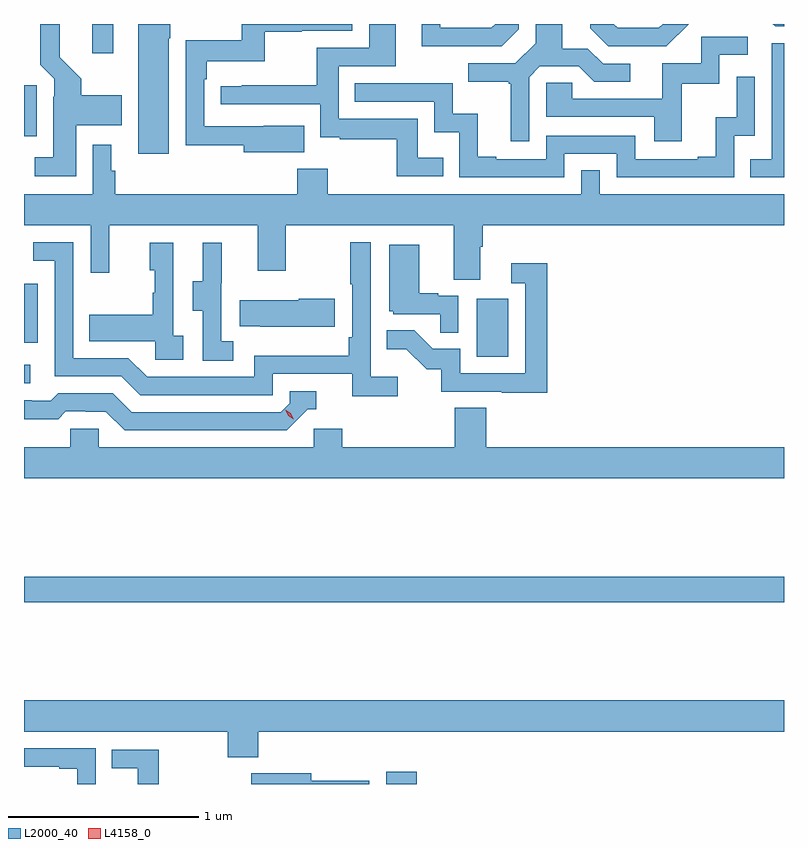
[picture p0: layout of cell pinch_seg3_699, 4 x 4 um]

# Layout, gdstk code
import gdstk
lib = gdstk.Library(unit=1e-6, precision=1e-09)
def R(c, l, rs):  # rectangles x0, y0, x1, y1
    for r in rs: c.add(gdstk.rectangle(r[:2], r[2:], *l))
def P(c, l, *ps):  # polygons
    for p in ps: c.add(gdstk.Polygon(p, *l))
L2000_40 = (2000, 40)
L4158_0 = (4158, 0)

pinch_seg3_699 = lib.new_cell('pinch_seg3_699')
R(pinch_seg3_699, L2000_40, [(1091.513,675.332,1091.674,675.397), (1089.606,676.288,1093.606,676.424), (1089.606,677.442,1089.64,677.538), (1091.99,677.58,1092.154,677.887), (1089.606,677.655,1089.678,677.964), (1089.606,678.741,1089.673,679.009), (1089.965,679.179,1090.075,679.332)])
P(pinch_seg3_699, L2000_40, [(1091.904,679.215),(1092.12,679.215),(1092.21,679.305),(1092.21,679.332),(1092.087,679.332),(1092.066,679.311),(1091.796,679.311),(1091.796,679.332),(1091.699,679.332),(1091.699,679.214),(1091.904,679.214)],
  [(1091.081,678.796),(1090.867,678.796),(1090.867,678.795),(1090.554,678.795),(1090.554,679.04),(1090.568,679.04),(1090.568,679.136),(1090.873,679.136),(1090.873,679.291),(1091.069,679.291),(1091.069,679.296),(1091.334,679.296),(1091.334,679.332),(1090.752,679.332),(1090.752,679.246),(1090.458,679.246),(1090.458,678.694),(1090.763,678.694),(1090.763,678.656),(1091.081,678.656)],
  [(1093.104,679.332),(1092.969,679.332),(1092.948,679.311),(1092.732,679.311),(1092.711,679.332),(1092.587,679.332),(1092.587,679.309),(1092.681,679.215),(1092.987,679.215)],
  [(1092.264,679.053),(1092.321,679.11),(1092.527,679.11),(1092.608,679.029),(1092.796,679.029),(1092.796,679.122),(1092.654,679.122),(1092.574,679.202),(1092.439,679.202),(1092.439,679.332),(1092.299,679.332),(1092.299,679.232),(1092.192,679.125),(1091.943,679.125),(1091.943,679.028),(1092.156,679.028),(1092.156,679.017),(1092.167,679.017),(1092.167,678.714),(1092.264,678.714)],
  [(1089.88,678.8),(1090.12,678.8),(1090.12,678.958),(1089.906,678.958),(1089.906,679.043),(1089.793,679.156),(1089.793,679.332),(1089.691,679.332),(1089.691,679.118),(1089.765,679.044),(1089.765,678.95),(1089.761,678.95),(1089.761,678.631),(1089.663,678.631),(1089.663,678.53),(1089.88,678.53)],
  [(1093.606,679.332),(1093.547,679.332),(1093.559,679.32),(1093.606,679.32)],
  [(1091.813,678.628),(1091.679,678.628),(1091.679,678.834),(1091.262,678.834),(1091.262,679.11),(1091.563,679.11),(1091.563,679.332),(1091.423,679.332),(1091.423,679.206),(1091.146,679.206),(1091.146,679.01),(1090.753,679.01),(1090.753,679.005),(1090.641,679.005),(1090.641,678.909),(1091.166,678.909),(1091.166,678.737),(1091.269,678.737),(1091.269,678.726),(1091.568,678.726),(1091.568,678.531),(1091.813,678.531)],
  [(1090.369,679.256),(1090.377,679.256),(1090.377,679.332),(1090.208,679.332),(1090.208,678.648),(1090.369,678.648)],
  [(1093.067,679.017),(1093.266,679.017),(1093.266,679.17),(1093.414,679.17),(1093.414,679.266),(1093.17,679.266),(1093.17,679.125),(1092.965,679.125),(1092.965,678.939),(1092.491,678.939),(1092.491,679.023),(1092.354,679.023),(1092.354,678.843),(1092.923,678.843),(1092.923,678.714),(1093.067,678.714)],
  [(1093.606,679.23),(1093.542,679.23),(1093.542,678.621),(1093.429,678.621),(1093.429,678.525),(1093.606,678.525)],
  [(1092.45,678.648),(1092.726,678.648),(1092.726,678.525),(1093.344,678.525),(1093.344,678.744),(1093.452,678.744),(1093.452,679.054),(1093.356,679.054),(1093.356,678.842),(1093.247,678.842),(1093.247,678.634),(1093.151,678.634),(1093.151,678.621),(1092.822,678.621),(1092.822,678.744),(1092.354,678.744),(1092.354,678.621),(1092.091,678.621),(1092.091,678.634),(1091.995,678.634),(1091.995,678.859),(1091.862,678.859),(1091.862,679.02),(1091.347,679.02),(1091.347,678.924),(1091.766,678.924),(1091.766,678.761),(1091.898,678.761),(1091.898,678.525),(1092.45,678.525)],
  [(1092.007,678.16),(1092.02,678.16),(1092.02,678.272),(1093.606,678.272),(1093.606,678.436),(1092.636,678.436),(1092.636,678.563),(1092.54,678.563),(1092.54,678.436),(1091.205,678.436),(1091.205,678.571),(1091.045,678.571),(1091.045,678.436),(1090.085,678.436),(1090.085,678.56),(1090.066,678.56),(1090.066,678.697),(1089.969,678.697),(1089.969,678.436),(1089.606,678.436),(1089.606,678.272),(1089.957,678.272),(1089.957,678.024),(1090.055,678.024),(1090.055,678.272),(1090.835,678.272),(1090.835,678.033),(1090.983,678.033),(1090.983,678.272),(1091.867,678.272),(1091.867,677.986),(1092.007,677.986)],
  [(1091.572,677.476),(1091.43,677.476),(1091.43,678.184),(1091.322,678.184),(1091.322,677.962),(1091.334,677.962),(1091.334,677.683),(1091.314,677.683),(1091.314,677.587),(1090.818,677.587),(1090.818,677.475),(1090.254,677.475),(1090.155,677.574),(1089.864,677.574),(1089.864,678.183),(1089.655,678.183),(1089.655,678.087),(1089.768,678.087),(1089.768,677.478),(1090.118,677.478),(1090.217,677.379),(1090.914,677.379),(1090.914,677.49),(1091.333,677.49),(1091.333,677.374),(1091.572,677.374)],
  [(1090.708,677.663),(1090.644,677.663),(1090.644,677.967),(1090.646,677.967),(1090.646,678.181),(1090.547,678.181),(1090.547,677.979),(1090.493,677.979),(1090.493,677.824),(1090.548,677.824),(1090.548,677.56),(1090.708,677.56)],
  [(1090.444,677.69),(1090.392,677.69),(1090.392,678.181),(1090.268,678.181),(1090.268,678.036),(1090.294,678.036),(1090.294,677.918),(1090.284,677.918),(1090.284,677.803),(1089.949,677.803),(1089.949,677.663),(1090.296,677.663),(1090.296,677.565),(1090.444,677.565)],
  [(1091.892,677.901),(1091.786,677.901),(1091.786,677.914),(1091.686,677.914),(1091.686,678.169),(1091.528,678.169),(1091.528,677.82),(1091.55,677.82),(1091.55,677.805),(1091.797,677.805),(1091.797,677.707),(1091.892,677.707)],
  [(1092.359,678.073),(1092.171,678.073),(1092.171,677.967),(1092.243,677.967),(1092.243,677.493),(1091.901,677.493),(1091.901,677.622),(1091.757,677.622),(1091.659,677.72),(1091.515,677.72),(1091.515,677.621),(1091.619,677.621),(1091.726,677.514),(1091.803,677.514),(1091.803,677.397),(1092.121,677.397),(1092.121,677.392),(1092.359,677.392)],
  [(1091.242,677.886),(1091.051,677.886),(1091.051,677.878),(1090.741,677.878),(1090.741,677.741),(1090.849,677.741),(1090.849,677.738),(1091.242,677.738)],
  [(1091.1,677.304),(1091.143,677.304),(1091.143,677.4),(1091.004,677.4),(1091.004,677.337),(1090.956,677.289),(1090.173,677.289),(1090.074,677.388),(1089.785,677.388),(1089.746,677.349),(1089.647,677.349),(1089.647,677.352),(1089.606,677.352),(1089.606,677.253),(1089.785,677.253),(1089.827,677.295),(1089.93,677.295),(1089.93,677.292),(1090.037,677.292),(1090.136,677.193),(1090.989,677.193)],
  [(1093.606,677.104),(1092.038,677.104),(1092.038,677.312),(1091.873,677.312),(1091.873,677.104),(1091.282,677.104),(1091.282,677.202),(1091.13,677.202),(1091.13,677.104),(1089.999,677.104),(1089.999,677.202),(1089.849,677.202),(1089.849,677.104),(1089.606,677.104),(1089.606,676.94),(1093.606,676.94)],
  [(1089.606,675.608),(1090.678,675.608),(1090.678,675.473),(1090.838,675.473),(1090.838,675.608),(1093.606,675.608),(1093.606,675.772),(1089.606,675.772)],
  [(1089.984,675.519),(1089.606,675.519),(1089.606,675.423),(1089.791,675.423),(1089.791,675.411),(1089.887,675.411),(1089.887,675.332),(1089.984,675.332)],
  [(1090.315,675.513),(1090.069,675.513),(1090.069,675.416),(1090.204,675.416),(1090.204,675.332),(1090.315,675.332)],
  [(1091.424,675.35),(1091.119,675.35),(1091.119,675.388),(1090.801,675.388),(1090.801,675.332),(1091.424,675.332)])
P(pinch_seg3_699, L4158_0, [(1091.027,677.251),(1090.996,677.27),(1090.98,677.303),(1090.98,677.303),(1090.98,677.303),(1091.011,677.284),(1091.027,677.251),(1091.027,677.251)])

lib.write_gds('pinch_seg3_699.gds')
